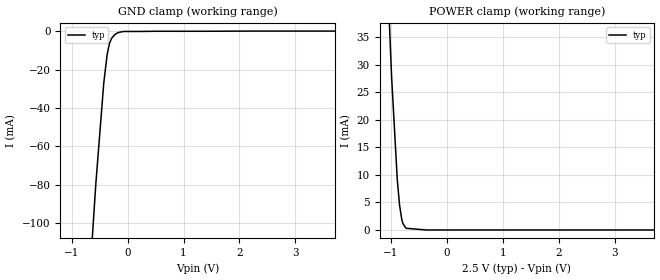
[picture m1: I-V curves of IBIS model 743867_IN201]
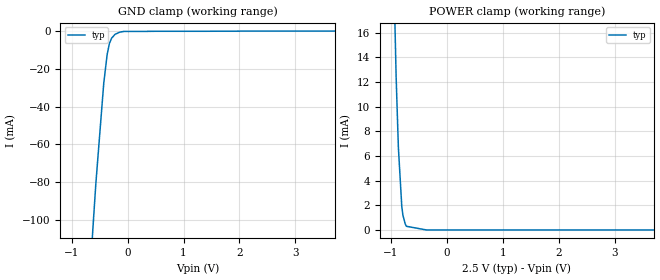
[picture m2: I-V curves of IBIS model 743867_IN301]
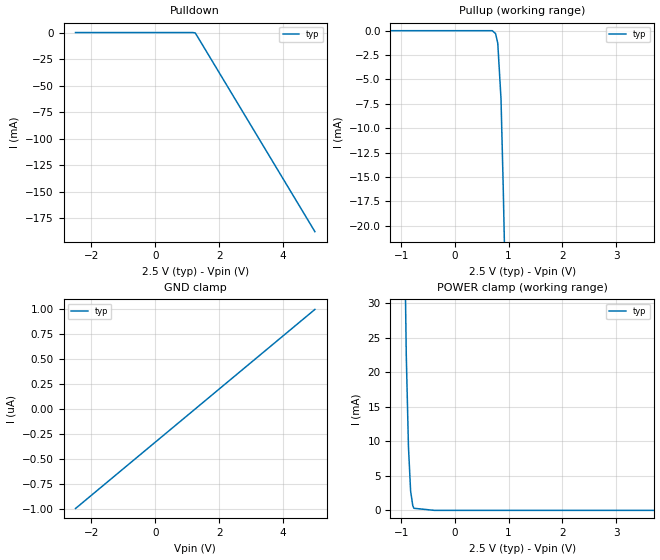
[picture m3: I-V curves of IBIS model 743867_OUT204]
| YOU ARE ONLY AUTHORIZED TO USE THIS SOFTWARE
| ACCORDING TO LICENSOR'S LICENSE RESTRICTIONS.
[IBIS Ver] 3.1
[File Name] nbsg14mn_25v.ibs
[File Rev] 1.0
[Source] Derived from NBSG16BA_25v Measured and created by ICX Technology
[Date] 8/27/2003
[Copyright]
| (C) COPYRIGHT 1993-2001
| MENTOR GRAPHICS CORPORATION
| ICX STANDARD LIBRARY, ICX PROJECT MODELING,
| ICX CUSTOM MODELING, ICX VENDOR MODEL
| ALL RIGHTS RESERVED.
| THE FOLLOWING ARE TRADEMARKS OR SERVICE MARKS OF
| MENTOR GRAPHICS CORPORATION:ICX (R), ICX STANDARD
| LIBRARY(R), ICX PROJECT MODELING(R), ICX CUSTOM
| MODELING(R), qualityIBIS(TM), MODELVIEWER(TM),
| AND MODELEDITOR(TM)
| ALL COPIES OF SOFTWARE, INCLUDING BUT NOT LIMITED TO
| ANY MODIFICATIONS, ENHANCEMENTS OR DERIVATIVE WORKS,
| MUST CONTAIN ALL MENTOR GRAPHICS CORPORATION'S
| NOTICES AND LEGENDS, INCLUDING THOSE EMBEDDED IN
| SOFTWARE AND THOSE AFFIXED TO SOFTWARE MEDIUM
| AND CONTAINER, AS RECEIVED FROM MENTOR GRAPHICS
| CORPORATION.
|  ZAP Model Builder 3.2
[Component] NBSG14MN_25v
[Manufacturer] OnSemico
[Package]
| variable   typ   min   max
R_pkg  .041ohms NA NA
L_pkg  0.797nH NA NA
C_pkg  0.131pF NA NA
[Pin] signal_name  model_name  R_pin  L_pin C_pin
1 _VTCLK NC 0.043 0.8418n 0.1483p
2 _CLK 743867_IN301 0.0395 0.7557n 0.1145p
3 CLK 743867_IN201 0.0395 0.755n 0.1192p
4 VTCLK NC 0.043 0.8427n 0.1486p
5 VEE POWER 0.043 0.8451n 0.1474p
6 _Q3 743867_OUT304 0.0395 0.756n 0.1156p
7 Q3 743867_OUT204 0.0395 0.7551n 0.1165p
8 VCC POWER 0.043 0.8432n 0.1485p
9 _Q2 743867_OUT304 0.043 0.8418n 0.1468p
10 Q2 743867_OUT204 0.0395 0.7533n 0.1136p
11 _Q1 743867_OUT304 0.0395 0.7524n 0.1148p
12 Q1 743867_OUT204 0.043 0.8415n 0.1528p
13 VCC POWER 0.043 0.8426n 0.1473p
14 _Q0 743867_OUT304 0.0395 0.7536n 0.1164p
15 Q0  743867_OUT204 0.0395 0.7514n 0.118p
16 VEE POWER 0.043 0.8412n 0.1487p
[Diff Pin] inv_pin vdiff tdelay_typ tdelay_min tdelay_max
3 2 150mv NA NA NA
7 6 NA 0.150ns NA NA
10 9 NA 0.150ns NA NA
12 11 NA 0.150ns NA NA
15 14 NA 0.150ns NA NA
| Models and submodels in the file (4): 743867_IN201 (Input_ECL), 743867_IN301 (Input_ECL), 743867_OUT204 (Output_ECL), 743867_OUT304 (Output_ECL)
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| (C) COPYRIGHT 1993-2001
| MENTOR GRAPHICS CORPORATION
| ICX STANDARD LIBRARY, ICX PROJECT MODELING,
| ICX CUSTOM MODELING, ICX VENDOR MODEL
| ALL RIGHTS RESERVED.
| THE FOLLOWING ARE TRADEMARKS OR SERVICE MARKS OF
| MENTOR GRAPHICS CORPORATION:ICX (R), ICX STANDARD
| LIBRARY(R), ICX PROJECT MODELING(R), ICX CUSTOM
| MODELING(R), qualityIBIS(TM), MODELVIEWER(TM),
| AND MODELEDITOR(TM)
| ALL COPIES OF SOFTWARE, INCLUDING BUT NOT LIMITED TO
| ANY MODIFICATIONS, ENHANCEMENTS OR DERIVATIVE WORKS,
| MUST CONTAIN ALL MENTOR GRAPHICS CORPORATION'S
| NOTICES AND LEGENDS, INCLUDING THOSE EMBEDDED IN
| SOFTWARE AND THOSE AFFIXED TO SOFTWARE MEDIUM
| AND CONTAINER, AS RECEIVED FROM MENTOR GRAPHICS
| CORPORATION.
[Model] 743867_IN201
Model_type Input_ECL
Vinl = 1.000V
Vinh = 1.400V
C_comp 500.0fF NA NA
| variable typ   min   max
[Voltage Range] 2.500V NA NA
[GND Clamp Reference] 0.000V NA NA
[POWER Clamp Reference] 2.500V NA NA
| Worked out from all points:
|   GND clamp passes 1 mA (typ) near -0.19 V on its own axis
|   POWER clamp passes 1 mA (typ) near -0.77 V on its own axis
[GND Clamp]
-2.5V     -943.4mA   NA         NA
-568mV    -79.7mA    NA         NA
-426mV    -27.1mA    NA         NA
-365mV    -12.1mA    NA         NA
-325mV    -6.4mA     NA         NA
-284mV    -3.6mA     NA         NA
-223mV    -1.6mA     NA         NA
-183mV    -900uA     NA         NA
-71mV     -100uA     NA         NA
5V        100uA      NA         NA
[POWER Clamp]
-2.5V     402mA      NA         NA
-986mV    27.8mA     NA         NA
-885mV    9.2mA      NA         NA
-844mV    4.5mA      NA         NA
-804mV    1.9mA      NA         NA
-784mV    1.2mA      NA         NA
-743mV    500uA      NA         NA
-723mV    300uA      NA         NA
-361.5mV  0A         NA         NA
5V        0A         NA         NA
| (C) COPYRIGHT 1993-2001
| MENTOR GRAPHICS CORPORATION
| ICX STANDARD LIBRARY, ICX PROJECT MODELING,
| ICX CUSTOM MODELING, ICX VENDOR MODEL
| ALL RIGHTS RESERVED.
| THE FOLLOWING ARE TRADEMARKS OR SERVICE MARKS OF
| MENTOR GRAPHICS CORPORATION:ICX (R), ICX STANDARD
| LIBRARY(R), ICX PROJECT MODELING(R), ICX CUSTOM
| MODELING(R), qualityIBIS(TM), MODELVIEWER(TM),
| AND MODELEDITOR(TM)
| ALL COPIES OF SOFTWARE, INCLUDING BUT NOT LIMITED TO
| ANY MODIFICATIONS, ENHANCEMENTS OR DERIVATIVE WORKS,
| MUST CONTAIN ALL MENTOR GRAPHICS CORPORATION'S
| NOTICES AND LEGENDS, INCLUDING THOSE EMBEDDED IN
| SOFTWARE AND THOSE AFFIXED TO SOFTWARE MEDIUM
| AND CONTAINER, AS RECEIVED FROM MENTOR GRAPHICS
| CORPORATION.
| Model Application Version 1.89 2/18/99.
[Model] 743867_IN301
Model_type Input_ECL
Vinl = 1.000V
Vinh = 1.400V
C_comp 500.0fF NA NA
| variable typ   min   max
[Voltage Range] 2.500V NA NA
[GND Clamp Reference] 0.000V NA NA
[POWER Clamp Reference] 2.500V NA NA
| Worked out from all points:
|   GND clamp passes 1 mA (typ) near -0.18 V on its own axis
|   POWER clamp passes 1 mA (typ) near -0.77 V on its own axis
[GND Clamp]
-2.5V     -960.9mA   NA         NA
-568mV    -81.1mA    NA         NA
-426mV    -27.6mA    NA         NA
-365mV    -12.3mA    NA         NA
-325mV    -6.5mA     NA         NA
-284mV    -3.6mA     NA         NA
-223mV    -1.6mA     NA         NA
-71mV     -100uA     NA         NA
5V        100uA      NA         NA
[POWER Clamp]
-2.5V     405.1mA    NA         NA
-1.027V   36.9mA     NA         NA
-905mV    12.4mA     NA         NA
-865mV    6.7mA      NA         NA
-804mV    1.9mA      NA         NA
-784mV    1.2mA      NA         NA
-743mV    500uA      NA         NA
-723mV    300uA      NA         NA
-361.5mV  0A         NA         NA
5V        0A         NA         NA
| (C) COPYRIGHT 1993-2001
| MENTOR GRAPHICS CORPORATION
| ICX STANDARD LIBRARY, ICX PROJECT MODELING,
| ICX CUSTOM MODELING, ICX VENDOR MODEL
| ALL RIGHTS RESERVED.
| THE FOLLOWING ARE TRADEMARKS OR SERVICE MARKS OF
| MENTOR GRAPHICS CORPORATION:ICX (R), ICX STANDARD
| LIBRARY(R), ICX PROJECT MODELING(R), ICX CUSTOM
| MODELING(R), qualityIBIS(TM), MODELVIEWER(TM),
| AND MODELEDITOR(TM)
| ALL COPIES OF SOFTWARE, INCLUDING BUT NOT LIMITED TO
| ANY MODIFICATIONS, ENHANCEMENTS OR DERIVATIVE WORKS,
| MUST CONTAIN ALL MENTOR GRAPHICS CORPORATION'S
| NOTICES AND LEGENDS, INCLUDING THOSE EMBEDDED IN
| SOFTWARE AND THOSE AFFIXED TO SOFTWARE MEDIUM
| AND CONTAINER, AS RECEIVED FROM MENTOR GRAPHICS
| CORPORATION.
| Model Application Version 1.89 2/18/99.
[Model] 743867_OUT204
Model_type Output_ECL
Vref=500.0mV
Rref=50.00ohms
Cref=0.000F
Vmeas=1.200V
C_comp 500.0fF NA NA
| variable typ   min   max
[Voltage Range] 2.500V NA NA
[POWER Clamp Reference] 2.500V NA NA
[Pullup Reference] 2.500V NA NA
[Pulldown Reference] 2.500V NA NA
[GND Clamp Reference] 0.000V NA NA
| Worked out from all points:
|   POWER clamp passes 1 mA (typ) near -0.79 V on its own axis
[GND Clamp]
-2.5V     -1uA       NA         NA
5V        1uA        NA         NA
[Pulldown]
-2.5V     0A         NA         NA
1.177V    0A         NA         NA
1.238V    -300uA     NA         NA
1.259V    -700uA     NA         NA
5V        -187.7mA   NA         NA
[Pullup]
-2.5V     0A         NA         NA
696mV     0A         NA         NA
757mV     -300uA     NA         NA
798mV     -1.3mA     NA         NA
858mV     -7mA       NA         NA
899mV     -16mA      NA         NA
5V        -1.093A    NA         NA
[POWER Clamp]
-2.5V     946.4mA    NA         NA
-905mV    22.6mA     NA         NA
-864mV    9.2mA      NA         NA
-824mV    2.8mA      NA         NA
-784mV    700uA      NA         NA
-763mV    300uA      NA         NA
-381.5mV  0A         NA         NA
5V        0A         NA         NA
[Ramp]
| variable typ min max
dV/dt_r 646.6m/30.00p NA NA
dV/dt_f 646.6m/30.00p NA NA
R_load = 50.00Ohms
